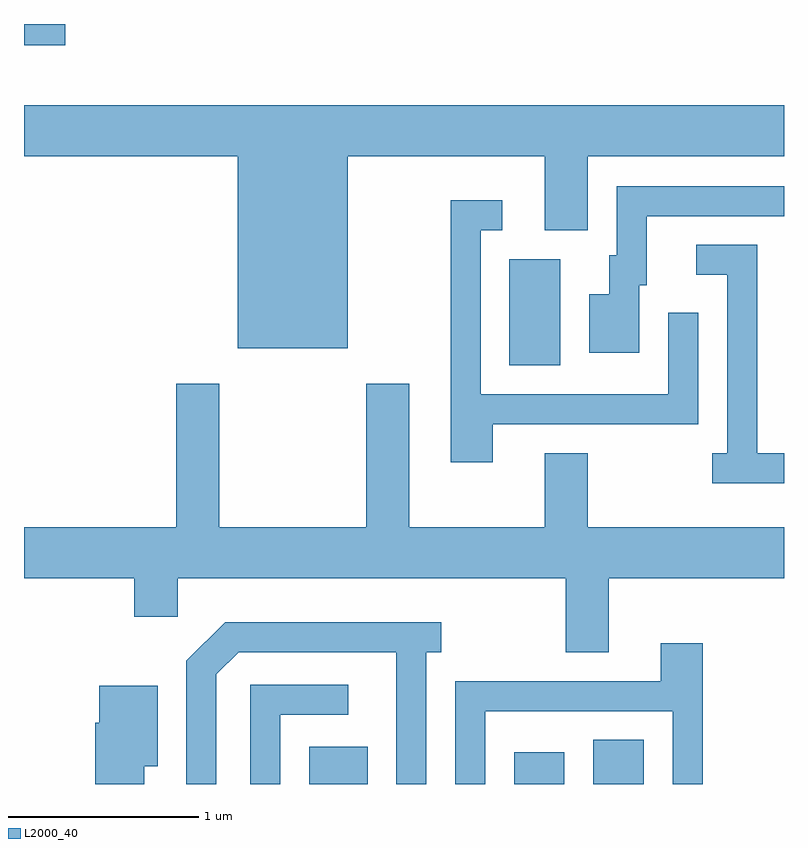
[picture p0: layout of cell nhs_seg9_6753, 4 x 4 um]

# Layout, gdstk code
import gdstk
lib = gdstk.Library(unit=1e-6, precision=1e-09)
def R(c, l, rs):  # rectangles x0, y0, x1, y1
    for r in rs: c.add(gdstk.rectangle(r[:2], r[2:], *l))
def P(c, l, *ps):  # polygons
    for p in ps: c.add(gdstk.Polygon(p, *l))
L2000_40 = (2000, 40)

nhs_seg9_6753 = lib.new_cell('nhs_seg9_6753')
R(nhs_seg9_6753, L2000_40, [(385.111,2068.432,385.419,2068.629), (386.191,2068.432,386.454,2068.599), (386.606,2068.432,386.874,2068.664), (386.166,2070.636,386.434,2071.194), (383.611,2072.321,383.828,2072.432)])
P(nhs_seg9_6753, L2000_40, [(385.314,2071.736),(386.351,2071.736),(386.351,2071.346),(386.579,2071.346),(386.579,2071.736),(387.611,2071.736),(387.611,2072.004),(383.611,2072.004),(383.611,2071.736),(384.736,2071.736),(384.736,2070.726),(385.314,2070.726)],
  [(386.849,2071.056),(386.889,2071.056),(386.889,2071.421),(387.611,2071.421),(387.611,2071.579),(386.731,2071.579),(386.731,2071.214),(386.691,2071.214),(386.691,2071.009),(386.586,2071.009),(386.586,2070.701),(386.849,2070.701)],
  [(386.079,2070.326),(387.159,2070.326),(387.159,2070.913),(387.001,2070.913),(387.001,2070.484),(386.014,2070.484),(386.014,2071.346),(386.128,2071.346),(386.128,2071.504),(385.856,2071.504),(385.856,2070.126),(386.079,2070.126)],
  [(387.611,2070.174),(387.469,2070.174),(387.469,2071.269),(387.148,2071.269),(387.148,2071.111),(387.311,2071.111),(387.311,2070.174),(387.233,2070.174),(387.233,2070.016),(387.611,2070.016)],
  [(386.689,2069.516),(387.611,2069.516),(387.611,2069.784),(386.579,2069.784),(386.579,2070.174),(386.351,2070.174),(386.351,2069.784),(385.639,2069.784),(385.639,2070.539),(385.411,2070.539),(385.411,2069.784),(384.639,2069.784),(384.639,2070.539),(384.411,2070.539),(384.411,2069.784),(383.611,2069.784),(383.611,2069.516),(384.191,2069.516),(384.191,2069.311),(384.419,2069.311),(384.419,2069.516),(386.461,2069.516),(386.461,2069.126),(386.689,2069.126)],
  [(384.624,2069.009),(384.742,2069.126),(385.571,2069.126),(385.571,2068.432),(385.729,2068.432),(385.729,2069.126),(385.808,2069.126),(385.808,2069.284),(384.669,2069.284),(384.466,2069.082),(384.466,2068.432),(384.624,2068.432)],
  [(386.039,2068.816),(387.026,2068.816),(387.026,2068.432),(387.184,2068.432),(387.184,2069.174),(386.961,2069.174),(386.961,2068.974),(385.881,2068.974),(385.881,2068.432),(386.039,2068.432)],
  [(384.959,2068.796),(385.318,2068.796),(385.318,2068.954),(384.801,2068.954),(384.801,2068.432),(384.959,2068.432)],
  [(384.244,2068.526),(384.314,2068.526),(384.314,2068.949),(384.006,2068.949),(384.006,2068.754),(383.986,2068.754),(383.986,2068.432),(384.244,2068.432)])

lib.write_gds('nhs_seg9_6753.gds')
